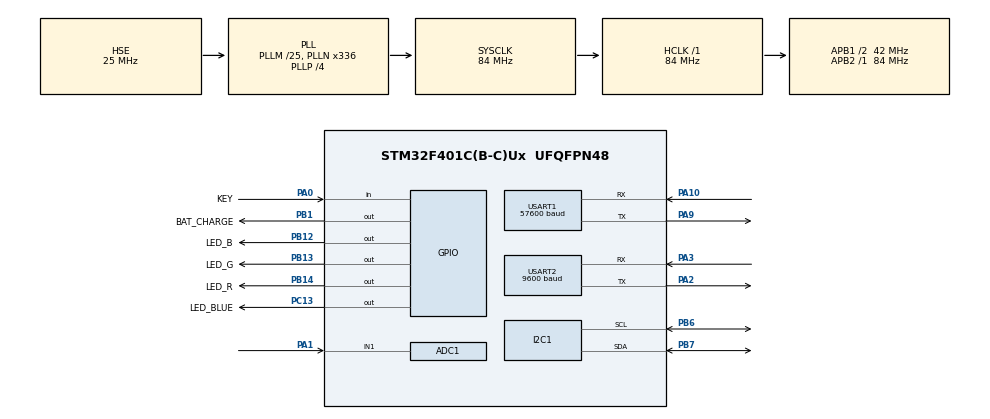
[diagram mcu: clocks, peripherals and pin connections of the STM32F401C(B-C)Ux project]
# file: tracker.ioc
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ADC1.Channel-0\#ChannelRegularConversion=ADC_CHANNEL_1
ADC1.Channel-1\#ChannelRegularConversion=ADC_CHANNEL_VBAT
ADC1.NbrOfConversion=2
ADC1.NbrOfConversionFlag=1
ADC1.Rank-0\#ChannelRegularConversion=1
ADC1.Rank-1\#ChannelRegularConversion=2
ADC1.SamplingTime-0\#ChannelRegularConversion=ADC_SAMPLETIME_144CYCLES
ADC1.SamplingTime-1\#ChannelRegularConversion=ADC_SAMPLETIME_144CYCLES
ADC1.master=1
Dma.ADC1.0.Direction=DMA_PERIPH_TO_MEMORY
Dma.ADC1.0.FIFOMode=DMA_FIFOMODE_DISABLE
Dma.ADC1.0.Instance=DMA2_Stream0
Dma.ADC1.0.MemDataAlignment=DMA_MDATAALIGN_WORD
Dma.ADC1.0.MemInc=DMA_MINC_ENABLE
Dma.ADC1.0.Mode=DMA_CIRCULAR
Dma.ADC1.0.PeriphDataAlignment=DMA_PDATAALIGN_WORD
Dma.ADC1.0.PeriphInc=DMA_PINC_DISABLE
Dma.ADC1.0.Priority=DMA_PRIORITY_LOW
Dma.Request0=ADC1
Dma.Request1=USART1_RX
Dma.Request2=USART2_RX
Dma.USART1_RX.1.Direction=DMA_PERIPH_TO_MEMORY
Dma.USART1_RX.1.FIFOMode=DMA_FIFOMODE_DISABLE
Dma.USART1_RX.1.Instance=DMA2_Stream2
Dma.USART1_RX.1.MemDataAlignment=DMA_MDATAALIGN_BYTE
Dma.USART1_RX.1.MemInc=DMA_MINC_ENABLE
Dma.USART1_RX.1.Mode=DMA_CIRCULAR
Dma.USART1_RX.1.PeriphDataAlignment=DMA_PDATAALIGN_BYTE
Dma.USART1_RX.1.PeriphInc=DMA_PINC_DISABLE
Dma.USART1_RX.1.Priority=DMA_PRIORITY_LOW
Dma.USART2_RX.2.Direction=DMA_PERIPH_TO_MEMORY
Dma.USART2_RX.2.FIFOMode=DMA_FIFOMODE_DISABLE
Dma.USART2_RX.2.Instance=DMA1_Stream5
Dma.USART2_RX.2.MemDataAlignment=DMA_MDATAALIGN_BYTE
Dma.USART2_RX.2.MemInc=DMA_MINC_ENABLE
Dma.USART2_RX.2.Mode=DMA_NORMAL
Dma.USART2_RX.2.PeriphDataAlignment=DMA_PDATAALIGN_BYTE
Dma.USART2_RX.2.PeriphInc=DMA_PINC_DISABLE
Dma.USART2_RX.2.Priority=DMA_PRIORITY_LOW
I2C1.I2C_Mode=I2C_Fast
Mcu.Family=STM32F4
Mcu.Name=STM32F401C(B-C)Ux
Mcu.Package=UFQFPN48
NVIC.DMA1_Stream5_IRQn=true\:0\:0\:false\:false\:true\:false\:true\:true
NVIC.DMA2_Stream0_IRQn=true\:0\:0\:false\:false\:true\:false\:true\:true
NVIC.DMA2_Stream2_IRQn=true\:0\:0\:false\:false\:true\:false\:true\:true
NVIC.PriorityGroup=NVIC_PRIORITYGROUP_4
NVIC.TIM3_IRQn=true\:0\:0\:false\:false\:true\:true\:true\:true
NVIC.USART1_IRQn=true\:0\:0\:false\:false\:true\:true\:true\:true
NVIC.USART2_IRQn=true\:0\:0\:false\:false\:true\:true\:true\:true
PA0-WKUP.GPIO_Label=KEY
PA0-WKUP.GPIO_PuPd=GPIO_PULLUP
PA0-WKUP.Signal=GPIO_Input
PA1.Signal=ADCx_IN1
PA10.Mode=Asynchronous
PA10.Signal=USART1_RX
PA13.Mode=Serial_Wire
PA13.Signal=SYS_JTMS-SWDIO
PA14.Mode=Serial_Wire
PA14.Signal=SYS_JTCK-SWCLK
PA2.Mode=Asynchronous
PA2.Signal=USART2_TX
PA3.Mode=Asynchronous
PA3.Signal=USART2_RX
PA9.Mode=Asynchronous
PA9.Signal=USART1_TX
PB1.GPIO_Label=BAT_CHARGE
PB1.GPIO_ModeDefaultOutputPP=GPIO_MODE_OUTPUT_OD
PB1.Signal=GPIO_Output
PB12.GPIO_Label=LED_B
PB12.Signal=GPIO_Output
PB13.GPIO_Label=LED_G
PB13.Signal=GPIO_Output
PB14.GPIO_Label=LED_R
PB14.Signal=GPIO_Output
PB6.GPIO_Pu=GPIO_PULLUP
PB6.Mode=I2C
PB6.Signal=I2C1_SCL
PB7.GPIO_Pu=GPIO_PULLUP
PB7.Mode=I2C
PB7.Signal=I2C1_SDA
PC13-ANTI_TAMP.GPIO_Label=LED_BLUE
PC13-ANTI_TAMP.PinState=GPIO_PIN_SET
PC13-ANTI_TAMP.Signal=GPIO_Output
PC14-OSC32_IN.Mode=LSE-External-Oscillator
PC14-OSC32_IN.Signal=RCC_OSC32_IN
PC15-OSC32_OUT.Mode=LSE-External-Oscillator
PC15-OSC32_OUT.Signal=RCC_OSC32_OUT
PH0\ -\ OSC_IN.Mode=HSE-External-Oscillator
PH0\ -\ OSC_IN.Signal=RCC_OSC_IN
PH1\ -\ OSC_OUT.Mode=HSE-External-Oscillator
PH1\ -\ OSC_OUT.Signal=RCC_OSC_OUT
ProjectManager.HeapSize=0x200
ProjectManager.StackSize=0x400
ProjectManager.TargetToolchain=Makefile
RCC.48MHZClocksFreq_Value=84000000
RCC.AHBFreq_Value=84000000
RCC.APB1CLKDivider=RCC_HCLK_DIV2
RCC.APB1Freq_Value=42000000
RCC.APB1TimFreq_Value=84000000
RCC.APB2Freq_Value=84000000
RCC.APB2TimFreq_Value=84000000
RCC.CortexFreq_Value=84000000
RCC.HCLKFreq_Value=84000000
RCC.HSE_VALUE=25000000
RCC.HSI_VALUE=16000000
RCC.PLLM=25
RCC.PLLN=336
RCC.PLLP=RCC_PLLP_DIV4
RCC.PLLSourceVirtual=RCC_PLLSOURCE_HSE
RCC.SYSCLKFreq_VALUE=84000000
RCC.SYSCLKSource=RCC_SYSCLKSOURCE_PLLCLK
RCC.VCOOutputFreq_Value=336000000
SH.ADCx_IN1.0=ADC1_IN1,IN1
TIM3.Period=1000
TIM3.Prescaler=4200
USART1.BaudRate=57600
USART1.VirtualMode=VM_ASYNC
USART2.BaudRate=9600
USART2.VirtualMode=VM_ASYNC
VP_ADC1_Vbat_Input.Mode=IN-Vbat
VP_TIM3_VS_ClockSourceINT.Mode=Internal
board=custom

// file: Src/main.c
/* USER CODE BEGIN Header */
/**
 ******************************************************************************
 * @file           : main.c
 * @brief          : Main program body
 ******************************************************************************
 * @attention
 *
 * <h2><center>&copy; Copyright (c) 2020 STMicroelectronics.
 * All rights reserved.</center></h2>
 *
 * This software component is licensed by ST under BSD 3-Clause license,
 * the "License"; You may not use this file except in compliance with the
 * License. You may obtain a copy of the License at:
 *                        opensource.org/licenses/BSD-3-Clause
 *
 ******************************************************************************
 */
/* USER CODE END Header */
#include "main.h"

/* USER CODE BEGIN Includes */
#pragma GCC diagnostic push
#pragma GCC diagnostic ignored "-Waddress-of-packed-member"
#include "../lib/mavlink_v2/standard/mavlink.h"
#pragma GCC diagnostic pop
#include "display.h"
#include "sim800.h"
#include "led.h"
/* USER CODE END Includes */

ADC_HandleTypeDef hadc1;
DMA_HandleTypeDef hdma_adc1;

I2C_HandleTypeDef hi2c1;

TIM_HandleTypeDef htim3;

UART_HandleTypeDef huart1;
UART_HandleTypeDef huart2;
DMA_HandleTypeDef hdma_usart1_rx;
DMA_HandleTypeDef hdma_usart2_rx;

/* USER CODE BEGIN PV */
uint32_t adc_raw[2];                      // ADC reading - IN1, Vbat
float vbat;                               // battery voltage
uint8_t uart2RX[SIM800_MAX_RESPONSE_LEN]; // SIM800l
sim800_t sim800_data;

bool sendTelemetry;

/* USER CODE END PV */

void SystemClock_Config(void);
static void MX_GPIO_Init(void);
static void MX_DMA_Init(void);
static void MX_TIM3_Init(void);
static void MX_ADC1_Init(void);
static void MX_USART1_UART_Init(void);
static void MX_USART2_UART_Init(void);
static void MX_I2C1_Init(void);

/* USER CODE BEGIN 0 */

void sim800_transmit(char *cmd)
{
  HAL_UART_Transmit(&huart2, (uint8_t *)cmd, strlen(cmd), 200);
}

void sim800_onError(sim800_t *sim800_data)
{
  displaySim800error(sim800_data->command, sim800_data->response);
}

/* USER CODE END 0 */

int main(void)
{
  /* USER CODE BEGIN 1 */

  sim800_data.transmit = sim800_transmit;
  sim800_data.onError = sim800_onError;
  led_init();

  /* USER CODE END 1 */

  /* MCU Configuration--------------------------------------------------------*/

  /* Reset of all peripherals, Initializes the Flash interface and the Systick. */
  HAL_Init();

  /* Configure the system clock */
  SystemClock_Config();

  /* Initialize all configured peripherals */
  MX_GPIO_Init();
  MX_DMA_Init();
  MX_TIM3_Init();
  MX_ADC1_Init();
  MX_USART1_UART_Init();
  MX_USART2_UART_Init();
  MX_I2C1_Init();
  /* USER CODE BEGIN 2 */
  HAL_Delay(50); // wait at least 20ms for SSD1306
  SSD1306_Init();
  display("Hello STM32");
  led_hello();

  HAL_TIM_Base_Start_IT(&htim3);
  HAL_UARTEx_ReceiveToIdle_DMA(&huart2, uart2RX, SIM800_MAX_RESPONSE_LEN);
  __HAL_DMA_DISABLE_IT(&hdma_usart2_rx, DMA_IT_HT);

  /* USER CODE END 2 */

  /* Infinite loop */
  /* USER CODE BEGIN WHILE */
  while (1)
  {
    if (sendTelemetry)
    {
      display("Sending Telemetry");
      HAL_Delay(500);

      if (sim800_connect(&sim800_data))
      {
        display("Connect OK");
        HAL_Delay(1000);

        display("Send");
        if (sim800_send(&sim800_data, "Hello from SIM800"))
        {
          display("Send OK");
          HAL_Delay(1000);
        }
        else
        {
          display("Send ERROR");
          HAL_Delay(1000);
        }
      }
      else
      {
        display("Connect ERROR");
        HAL_Delay(1000);
      }

      // display("Disconnect");
      // sim800_disconnect(&sim800_data);
    }

    /*
    // blink onboard blue LED
    HAL_GPIO_TogglePin(LED_BLUE_GPIO_Port, LED_BLUE_Pin);
    if (HAL_GPIO_ReadPin(KEY_GPIO_Port, KEY_Pin) == GPIO_PIN_RESET) {
      // onboard key pressed
      HAL_Delay(500);
    }
    else
    {
      HAL_Delay(1000);
    }
    */
    /* USER CODE END WHILE */

  }
}

void SystemClock_Config(void)
{
  RCC_OscInitTypeDef RCC_OscInitStruct = {0};
  RCC_ClkInitTypeDef RCC_ClkInitStruct = {0};

  /** Configure the main internal regulator output voltage
   */
  __HAL_RCC_PWR_CLK_ENABLE();
  __HAL_PWR_VOLTAGESCALING_CONFIG(PWR_REGULATOR_VOLTAGE_SCALE2);

  /** Initializes the RCC Oscillators according to the specified parameters
   * in the RCC_OscInitTypeDef structure.
   */
  RCC_OscInitStruct.OscillatorType = RCC_OSCILLATORTYPE_HSE;
  RCC_OscInitStruct.HSEState = RCC_HSE_ON;
  RCC_OscInitStruct.PLL.PLLState = RCC_PLL_ON;
  RCC_OscInitStruct.PLL.PLLSource = RCC_PLLSOURCE_HSE;
  RCC_OscInitStruct.PLL.PLLM = 25;
  RCC_OscInitStruct.PLL.PLLN = 336;
  RCC_OscInitStruct.PLL.PLLP = RCC_PLLP_DIV4;
  RCC_OscInitStruct.PLL.PLLQ = 4;
  if (HAL_RCC_OscConfig(&RCC_OscInitStruct) != HAL_OK)
  {
    Error_Handler();
  }

  /** Initializes the CPU, AHB and APB buses clocks
   */
  RCC_ClkInitStruct.ClockType = RCC_CLOCKTYPE_HCLK | RCC_CLOCKTYPE_SYSCLK | RCC_CLOCKTYPE_PCLK1 | RCC_CLOCKTYPE_PCLK2;
  RCC_ClkInitStruct.SYSCLKSource = RCC_SYSCLKSOURCE_PLLCLK;
  RCC_ClkInitStruct.AHBCLKDivider = RCC_SYSCLK_DIV1;
  RCC_ClkInitStruct.APB1CLKDivider = RCC_HCLK_DIV2;
  RCC_ClkInitStruct.APB2CLKDivider = RCC_HCLK_DIV1;

  if (HAL_RCC_ClockConfig(&RCC_ClkInitStruct, FLASH_LATENCY_2) != HAL_OK)
  {
    Error_Handler();
  }
}

static void MX_ADC1_Init(void)
{

  ADC_ChannelConfTypeDef sConfig = {0};

  /** Configure the global features of the ADC (Clock, Resolution, Data Alignment and number of conversion)
   */
  hadc1.Instance = ADC1;
  hadc1.Init.ClockPrescaler = ADC_CLOCK_SYNC_PCLK_DIV4;
  hadc1.Init.Resolution = ADC_RESOLUTION_12B;
  hadc1.Init.ScanConvMode = ENABLE;
  hadc1.Init.ContinuousConvMode = DISABLE;
  hadc1.Init.DiscontinuousConvMode = DISABLE;
  hadc1.Init.ExternalTrigConvEdge = ADC_EXTERNALTRIGCONVEDGE_NONE;
  hadc1.Init.ExternalTrigConv = ADC_SOFTWARE_START;
  hadc1.Init.DataAlign = ADC_DATAALIGN_RIGHT;
  hadc1.Init.NbrOfConversion = 2;
  hadc1.Init.DMAContinuousRequests = DISABLE;
  hadc1.Init.EOCSelection = ADC_EOC_SINGLE_CONV;
  if (HAL_ADC_Init(&hadc1) != HAL_OK)
  {
    Error_Handler();
  }

  /** Configure for the selected ADC regular channel its corresponding rank in the sequencer and its sample time.
   */
  sConfig.Channel = ADC_CHANNEL_1;
  sConfig.Rank = 1;
  sConfig.SamplingTime = ADC_SAMPLETIME_144CYCLES;
  if (HAL_ADC_ConfigChannel(&hadc1, &sConfig) != HAL_OK)
  {
    Error_Handler();
  }

  /** Configure for the selected ADC regular channel its corresponding rank in the sequencer and its sample time.
   */
  sConfig.Channel = ADC_CHANNEL_VBAT;
  sConfig.Rank = 2;
  if (HAL_ADC_ConfigChannel(&hadc1, &sConfig) != HAL_OK)
  {
    Error_Handler();
  }
}

static void MX_I2C1_Init(void)
{

  hi2c1.Instance = I2C1;
  hi2c1.Init.ClockSpeed = 400000;
  hi2c1.Init.DutyCycle = I2C_DUTYCYCLE_2;
  hi2c1.Init.OwnAddress1 = 0;
  hi2c1.Init.AddressingMode = I2C_ADDRESSINGMODE_7BIT;
  hi2c1.Init.DualAddressMode = I2C_DUALADDRESS_DISABLE;
  hi2c1.Init.OwnAddress2 = 0;
  hi2c1.Init.GeneralCallMode = I2C_GENERALCALL_DISABLE;
  hi2c1.Init.NoStretchMode = I2C_NOSTRETCH_DISABLE;
  if (HAL_I2C_Init(&hi2c1) != HAL_OK)
  {
    Error_Handler();
  }
}

static void MX_TIM3_Init(void)
{

  TIM_ClockConfigTypeDef sClockSourceConfig = {0};
  TIM_MasterConfigTypeDef sMasterConfig = {0};

  htim3.Instance = TIM3;
  htim3.Init.Prescaler = 4200;
  htim3.Init.CounterMode = TIM_COUNTERMODE_UP;
  htim3.Init.Period = 1000;
  htim3.Init.ClockDivision = TIM_CLOCKDIVISION_DIV1;
  htim3.Init.AutoReloadPreload = TIM_AUTORELOAD_PRELOAD_DISABLE;
  if (HAL_TIM_Base_Init(&htim3) != HAL_OK)
  {
    Error_Handler();
  }
  sClockSourceConfig.ClockSource = TIM_CLOCKSOURCE_INTERNAL;
  if (HAL_TIM_ConfigClockSource(&htim3, &sClockSourceConfig) != HAL_OK)
  {
    Error_Handler();
  }
  sMasterConfig.MasterOutputTrigger = TIM_TRGO_RESET;
  sMasterConfig.MasterSlaveMode = TIM_MASTERSLAVEMODE_DISABLE;
  if (HAL_TIMEx_MasterConfigSynchronization(&htim3, &sMasterConfig) != HAL_OK)
  {
    Error_Handler();
  }
}

static void MX_USART1_UART_Init(void)
{

  huart1.Instance = USART1;
  huart1.Init.BaudRate = 57600;
  huart1.Init.WordLength = UART_WORDLENGTH_8B;
  huart1.Init.StopBits = UART_STOPBITS_1;
  huart1.Init.Parity = UART_PARITY_NONE;
  huart1.Init.Mode = UART_MODE_TX_RX;
  huart1.Init.HwFlowCtl = UART_HWCONTROL_NONE;
  huart1.Init.OverSampling = UART_OVERSAMPLING_16;
  if (HAL_UART_Init(&huart1) != HAL_OK)
  {
    Error_Handler();
  }
}

static void MX_USART2_UART_Init(void)
{

  huart2.Instance = USART2;
  huart2.Init.BaudRate = 9600;
  huart2.Init.WordLength = UART_WORDLENGTH_8B;
  huart2.Init.StopBits = UART_STOPBITS_1;
  huart2.Init.Parity = UART_PARITY_NONE;
  huart2.Init.Mode = UART_MODE_TX_RX;
  huart2.Init.HwFlowCtl = UART_HWCONTROL_NONE;
  huart2.Init.OverSampling = UART_OVERSAMPLING_16;
  if (HAL_UART_Init(&huart2) != HAL_OK)
  {
    Error_Handler();
  }
}

static void MX_DMA_Init(void)
{

  /* DMA controller clock enable */
  __HAL_RCC_DMA2_CLK_ENABLE();
  __HAL_RCC_DMA1_CLK_ENABLE();

  /* DMA interrupt init */
  /* DMA1_Stream5_IRQn interrupt configuration */
  HAL_NVIC_SetPriority(DMA1_Stream5_IRQn, 0, 0);
  HAL_NVIC_EnableIRQ(DMA1_Stream5_IRQn);
  /* DMA2_Stream0_IRQn interrupt configuration */
  HAL_NVIC_SetPriority(DMA2_Stream0_IRQn, 0, 0);
  HAL_NVIC_EnableIRQ(DMA2_Stream0_IRQn);
  /* DMA2_Stream2_IRQn interrupt configuration */
  HAL_NVIC_SetPriority(DMA2_Stream2_IRQn, 0, 0);
  HAL_NVIC_EnableIRQ(DMA2_Stream2_IRQn);
}

static void MX_GPIO_Init(void)
{
  GPIO_InitTypeDef GPIO_InitStruct = {0};

  /* GPIO Ports Clock Enable */
  __HAL_RCC_GPIOC_CLK_ENABLE();
  __HAL_RCC_GPIOH_CLK_ENABLE();
  __HAL_RCC_GPIOA_CLK_ENABLE();
  __HAL_RCC_GPIOB_CLK_ENABLE();

  /*Configure GPIO pin Output Level */
  HAL_GPIO_WritePin(LED_BLUE_GPIO_Port, LED_BLUE_Pin, GPIO_PIN_SET);

  /*Configure GPIO pin Output Level */
  HAL_GPIO_WritePin(GPIOB, BAT_CHARGE_Pin | LED_B_Pin | LED_G_Pin | LED_R_Pin, GPIO_PIN_RESET);

  /*Configure GPIO pin : LED_BLUE_Pin */
  GPIO_InitStruct.Pin = LED_BLUE_Pin;
  GPIO_InitStruct.Mode = GPIO_MODE_OUTPUT_PP;
  GPIO_InitStruct.Pull = GPIO_NOPULL;
  GPIO_InitStruct.Speed = GPIO_SPEED_FREQ_LOW;
  HAL_GPIO_Init(LED_BLUE_GPIO_Port, &GPIO_InitStruct);

  /*Configure GPIO pin : KEY_Pin */
  GPIO_InitStruct.Pin = KEY_Pin;
  GPIO_InitStruct.Mode = GPIO_MODE_INPUT;
  GPIO_InitStruct.Pull = GPIO_PULLUP;
  HAL_GPIO_Init(KEY_GPIO_Port, &GPIO_InitStruct);

  /*Configure GPIO pin : BAT_CHARGE_Pin */
  GPIO_InitStruct.Pin = BAT_CHARGE_Pin;
  GPIO_InitStruct.Mode = GPIO_MODE_OUTPUT_OD;
  GPIO_InitStruct.Pull = GPIO_NOPULL;
  GPIO_InitStruct.Speed = GPIO_SPEED_FREQ_LOW;
  HAL_GPIO_Init(BAT_CHARGE_GPIO_Port, &GPIO_InitStruct);

  /*Configure GPIO pins : LED_B_Pin LED_G_Pin LED_R_Pin */
  GPIO_InitStruct.Pin = LED_B_Pin | LED_G_Pin | LED_R_Pin;
  GPIO_InitStruct.Mode = GPIO_MODE_OUTPUT_PP;
  GPIO_InitStruct.Pull = GPIO_NOPULL;
  GPIO_InitStruct.Speed = GPIO_SPEED_FREQ_LOW;
  HAL_GPIO_Init(GPIOB, &GPIO_InitStruct);
}

/* USER CODE BEGIN 4 */
// every 50 ms - timer3
void HAL_TIM_PeriodElapsedCallback(TIM_HandleTypeDef *htim)
{
  static int cntADC = 0;
  static int cntKeyPress = 0;
  // static int cntHeartBeat = 0;
  static int cntLedBeat = 0;

  if (cntLedBeat-- == 0)
  {
    if (led_is_empty())
    {
      HAL_GPIO_WritePin(LED_R_GPIO_Port, LED_R_Pin | LED_G_Pin | LED_B_Pin, GPIO_PIN_RESET);
      cntLedBeat = 0;
    }
    else
    {
      uint8_t x = led_dequeue();
      HAL_GPIO_WritePin(LED_R_GPIO_Port, LED_R_Pin, x & LED_R);
      HAL_GPIO_WritePin(LED_G_GPIO_Port, LED_G_Pin, x & LED_G);
      HAL_GPIO_WritePin(LED_B_GPIO_Port, LED_B_Pin, x & LED_B);
      cntLedBeat = x & LED_L ? 10 : 3;
    }
  }

  // if (++cntHeartBeat == 10)
  // {
  //   cntHeartBeat = 0;
  //   HAL_GPIO_TogglePin(LED_G_GPIO_Port, LED_G_Pin);
  // }

  // blink onboard blue LED
  // HAL_GPIO_TogglePin(LED_BLUE_GPIO_Port, LED_BLUE_Pin);

  if (HAL_GPIO_ReadPin(KEY_GPIO_Port, KEY_Pin) == GPIO_PIN_RESET)
  {
    if (++cntKeyPress == 5)
    {
      // key pressed for 250 ms - display battery voltage
      displayBatteryVoltage(vbat);

      // displayScroll();
    }
    else if (cntKeyPress == 20)
    {
      // key pressed for 1 sec - switch ON onboard blue LED and send telemetry
      HAL_GPIO_WritePin(LED_BLUE_GPIO_Port, LED_BLUE_Pin, GPIO_PIN_RESET);
      sendTelemetry = true;
    }
  }
  else
  {
    cntKeyPress = 0;
    sendTelemetry = false;
    HAL_GPIO_WritePin(LED_BLUE_GPIO_Port, LED_BLUE_Pin, GPIO_PIN_SET);
  }

  if (++cntADC == 100)
  {
    cntADC = 0;
    // every 5 sec start ADC in DMA mode
    HAL_ADC_Start_DMA(&hadc1, adc_raw, 2);
  }
}

void HAL_ADC_ConvCpltCallback(ADC_HandleTypeDef *hadc)
{
  // stop ADC
  HAL_ADC_Stop_DMA(hadc);
  // Vin measured on A1 - 6k8/10k
  float vin = 0.164 + adc_raw[0] * 0.0013;
  // Vbat - lowest possible measurement - 3.35V with Vin; 3.65 without Vin
  vbat = (vin > 4.5 ? 0.135 : 0.164) + 0.0033 * adc_raw[1];

  if (vbat < 3.5)
  {
    led_low_battery();
  }

  if (vin > 4.1 && vbat < 4.1)
  {
    // charge battery
    HAL_GPIO_WritePin(BAT_CHARGE_GPIO_Port, BAT_CHARGE_Pin, GPIO_PIN_RESET);
  }
  else
  {
    HAL_GPIO_WritePin(BAT_CHARGE_GPIO_Port, BAT_CHARGE_Pin, GPIO_PIN_SET);
  }
}

void HAL_UARTEx_RxEventCallback(UART_HandleTypeDef *huart, uint16_t size)
{
  if (huart->Instance == USART2)
  {
    /* SIM800L */
    if (size < 3)
    {
      // ignore noice
      HAL_UARTEx_ReceiveToIdle_DMA(&huart2, uart2RX, SIM800_MAX_RESPONSE_LEN);
      return;
    }

    if (!sim800_data.response_len)
    {
      memcpy(sim800_data.response, uart2RX, size);
      sim800_data.response_len = size;
    }
    HAL_UARTEx_ReceiveToIdle_DMA(&huart2, uart2RX, SIM800_MAX_RESPONSE_LEN);
  }
}

void HAL_UART_ErrorCallback(UART_HandleTypeDef *huart)
{
  if (huart->Instance == huart2.Instance)
  {
    char msg[30];
    sprintf(msg, "UART2 (SIM) Err %lu", huart->ErrorCode);
    display(msg);

    HAL_UARTEx_ReceiveToIdle_DMA(&huart2, uart2RX, SIM800_MAX_RESPONSE_LEN);
  }
}
/* USER CODE END 4 */

void Error_Handler(void)
{
}
